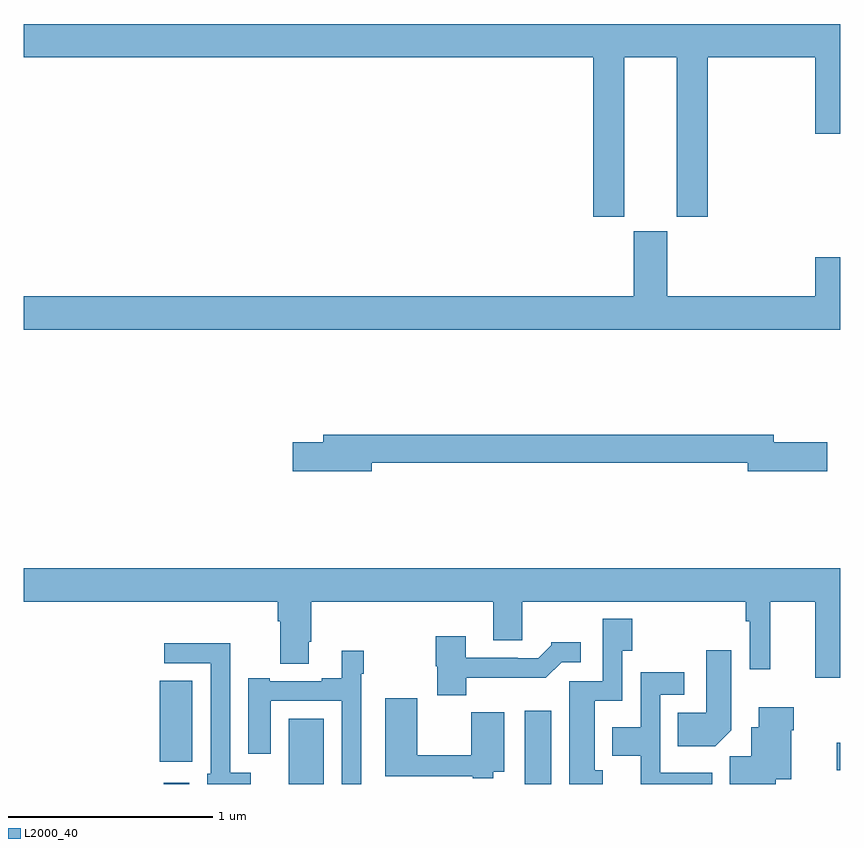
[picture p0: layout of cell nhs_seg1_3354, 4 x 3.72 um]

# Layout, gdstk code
import gdstk
lib = gdstk.Library(unit=1e-6, precision=1e-09)
def R(c, l, rs):  # rectangles x0, y0, x1, y1
    for r in rs: c.add(gdstk.rectangle(r[:2], r[2:], *l))
def P(c, l, *ps):  # polygons
    for p in ps: c.add(gdstk.Polygon(p, *l))
L2000_40 = (2000, 40)

nhs_seg1_3354 = lib.new_cell('nhs_seg1_3354')
R(nhs_seg1_3354, L2000_40, [(293.687,524.199,293.812,524.206), (294.299,524.199,294.469,524.518), (295.454,524.199,295.585,524.557), (296.982,524.267,297,524.402), (293.666,524.307,293.827,524.705)])
P(nhs_seg1_3354, L2000_40, [(295.942,527.756),(296.198,527.756),(296.198,526.977),(296.351,526.977),(296.351,527.756),(296.876,527.756),(296.876,527.382),(297,527.382),(297,527.92),(293,527.92),(293,527.756),(295.79,527.756),(295.79,526.977),(295.942,526.977)],
  [(297,526.777),(296.876,526.777),(296.876,526.588),(296.152,526.588),(296.152,526.905),(295.988,526.905),(295.988,526.588),(293,526.588),(293,526.424),(297,526.424)],
  [(294.706,525.772),(296.546,525.772),(296.546,525.73),(296.935,525.73),(296.935,525.872),(296.674,525.872),(296.674,525.908),(294.467,525.908),(294.467,525.872),(294.318,525.872),(294.318,525.73),(294.706,525.73)],
  [(297,525.256),(293,525.256),(293,525.092),(294.245,525.092),(294.245,524.996),(294.257,524.996),(294.257,524.788),(294.397,524.788),(294.397,524.896),(294.41,524.896),(294.41,525.092),(295.301,525.092),(295.301,524.902),(295.441,524.902),(295.441,525.092),(296.536,525.092),(296.536,524.996),(296.556,524.996),(296.556,524.76),(296.655,524.76),(296.655,525.092),(296.876,525.092),(296.876,524.718),(297,524.718)],
  [(295.837,524.267),(295.798,524.267),(295.798,524.606),(295.932,524.606),(295.932,524.851),(295.98,524.851),(295.98,525.007),(295.836,525.007),(295.836,524.703),(295.673,524.703),(295.673,524.199),(295.837,524.199)],
  [(295.168,524.718),(295.557,524.718),(295.635,524.796),(295.729,524.796),(295.729,524.893),(295.584,524.893),(295.584,524.878),(295.52,524.814),(295.421,524.814),(295.421,524.817),(295.165,524.817),(295.165,524.923),(295.018,524.923),(295.018,524.775),(295.025,524.775),(295.025,524.633),(295.168,524.633)],
  [(294.112,524.254),(294.012,524.254),(294.012,524.888),(293.688,524.888),(293.688,524.79),(293.916,524.79),(293.916,524.25),(293.9,524.25),(293.9,524.199),(294.112,524.199)],
  [(296.464,524.462),(296.464,524.854),(296.342,524.854),(296.342,524.548),(296.203,524.548),(296.203,524.384),(296.386,524.384)],
  [(294.654,524.738),(294.667,524.738),(294.667,524.851),(294.557,524.851),(294.557,524.716),(294.461,524.716),(294.461,524.703),(294.205,524.703),(294.205,524.716),(294.101,524.716),(294.101,524.346),(294.211,524.346),(294.211,524.607),(294.558,524.607),(294.558,524.199),(294.654,524.199)],
  [(296.371,524.254),(296.118,524.254),(296.118,524.637),(296.236,524.637),(296.236,524.746),(296.022,524.746),(296.022,524.476),(295.883,524.476),(295.883,524.337),(296.021,524.337),(296.021,524.199),(296.371,524.199)],
  [(295.299,524.258),(295.354,524.258),(295.354,524.551),(295.192,524.551),(295.192,524.339),(294.928,524.339),(294.928,524.62),(294.77,524.62),(294.77,524.238),(295.199,524.238),(295.199,524.226),(295.299,524.226)],
  [(296.682,524.222),(296.758,524.222),(296.758,524.462),(296.771,524.462),(296.771,524.575),(296.6,524.575),(296.6,524.476),(296.564,524.476),(296.564,524.336),(296.459,524.336),(296.459,524.199),(296.682,524.199)])

lib.write_gds('nhs_seg1_3354.gds')
